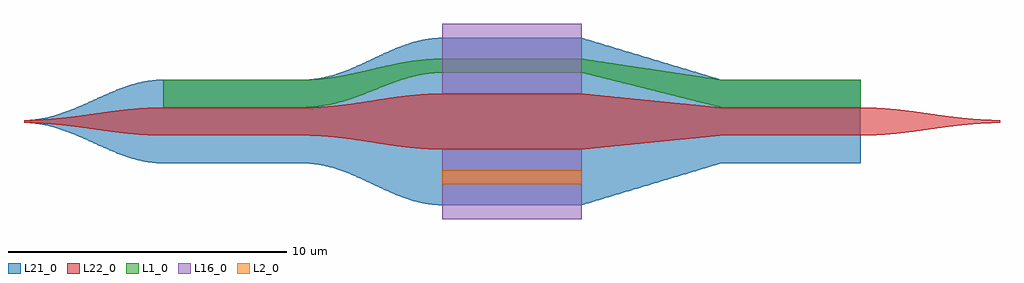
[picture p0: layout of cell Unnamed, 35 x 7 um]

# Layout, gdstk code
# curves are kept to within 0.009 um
import gdstk
lib = gdstk.Library(unit=1e-6, precision=1e-09)
def R(c, l, rs):  # rectangles x0, y0, x1, y1
    for r in rs: c.add(gdstk.rectangle(r[:2], r[2:], *l))
def P(c, l, *ps):  # polygons
    for p in ps: c.add(gdstk.Polygon(p, *l))
L1_0 = (1, 0)
L2_0 = (2, 0)
L16_0 = (16, 0)
L21_0 = (21, 0)
L22_0 = (22, 0)

unnamed = lib.new_cell('Unnamed')
R(unnamed, L1_0, [(5,0.5,10,1.5), (25,0.5,30,1.5), (15,1.75,20,2.25)])
P(unnamed, L1_0, [(10,1.5),(10.602,1.528),(11.271,1.619),(11.821,1.728),(13.127,2.026),(13.768,2.147),(14.357,2.221),(15,2.25),(15,1.75),(14.709,1.739),(14.418,1.706),(14.127,1.653),(13.836,1.581),(13.253,1.391),(11.747,0.816),(11.27,0.672),(10.725,0.557),(10.336,0.512),(10,0.5)],
  [(10,1.5),(10.602,1.528),(11.271,1.619),(11.821,1.728),(13.127,2.026),(13.768,2.147),(14.357,2.221),(15,2.25),(15,1.75),(14.709,1.739),(14.418,1.706),(14.127,1.653),(13.836,1.581),(13.253,1.391),(11.747,0.816),(11.27,0.672),(10.725,0.557),(10.336,0.512),(10,0.5)],
  [(20,2.25),(25,1.5),(25,0.5),(20,1.75)],
  [(20,2.25),(25,1.5),(25,0.5),(20,1.75)])
R(unnamed, L2_0, [(15,-2.25,20,-1.75)])
R(unnamed, L16_0, [(15,-3.5,20,-1), (15,1,20,3.5)])
R(unnamed, L21_0, [(15,-3,20,3), (5,-1.5,10,1.5), (25,-1.5,30,1.5)])
P(unnamed, L21_0, [(0,0.05),(0.255,0.059),(0.51,0.087),(0.765,0.132),(1.071,0.208),(1.378,0.305),(1.786,0.46),(3.112,1.047),(3.724,1.279),(4.082,1.383),(4.388,1.447),(4.694,1.487),(5,1.5),(5,-1.5),(4.694,-1.487),(4.388,-1.447),(4.082,-1.383),(3.827,-1.312),(3.214,-1.09),(2.092,-0.591),(1.48,-0.341),(1.071,-0.208),(0.765,-0.132),(0.357,-0.068),(0,-0.05)],
  [(10,1.5),(10.306,1.514),(10.561,1.546),(10.918,1.621),(11.122,1.679),(11.735,1.903),(13.163,2.554),(13.724,2.772),(14.082,2.879),(14.337,2.936),(14.694,2.986),(15,3),(15,-3),(14.694,-2.986),(14.439,-2.954),(14.082,-2.879),(13.878,-2.821),(13.265,-2.597),(11.837,-1.946),(11.276,-1.728),(10.918,-1.621),(10.663,-1.564),(10.306,-1.514),(10,-1.5)],
  [(10,1.5),(10.306,1.514),(10.561,1.546),(10.918,1.621),(11.122,1.679),(11.735,1.903),(13.163,2.554),(13.724,2.772),(14.082,2.879),(14.337,2.936),(14.694,2.986),(15,3),(15,-3),(14.694,-2.986),(14.439,-2.954),(14.082,-2.879),(13.878,-2.821),(13.265,-2.597),(11.837,-1.946),(11.276,-1.728),(10.918,-1.621),(10.663,-1.564),(10.306,-1.514),(10,-1.5)],
  [(20,3),(25,1.5),(25,-1.5),(20,-3)],
  [(20,3),(25,1.5),(25,-1.5),(20,-3)])
R(unnamed, L22_0, [(15,-1,20,1), (5,-0.5,10,0.5), (25,-0.5,30,0.5)])
P(unnamed, L22_0, [(0,0.05),(0.612,0.066),(1.173,0.108),(3.724,0.432),(4.388,0.484),(5,0.5),(5,-0.5),(4.388,-0.484),(3.827,-0.442),(1.276,-0.118),(0.612,-0.066),(0,-0.05)],
  [(10,0.5),(10.561,0.515),(11.224,0.57),(13.776,0.93),(14.439,0.985),(15,1),(15,-1),(14.439,-0.985),(13.776,-0.93),(11.224,-0.57),(10.561,-0.515),(10,-0.5)],
  [(10,0.5),(10.561,0.515),(11.224,0.57),(13.776,0.93),(14.439,0.985),(15,1),(15,-1),(14.439,-0.985),(13.776,-0.93),(11.224,-0.57),(10.561,-0.515),(10,-0.5)],
  [(20,1),(25,0.5),(25,-0.5),(20,-1)],
  [(20,1),(25,0.5),(25,-0.5),(20,-1)],
  [(30,0.5),(30.612,0.484),(31.173,0.442),(33.724,0.118),(34.388,0.066),(35,0.05),(35,-0.05),(34.388,-0.066),(33.827,-0.108),(31.276,-0.432),(30.612,-0.484),(30,-0.5)])

lib.write_gds('Unnamed.gds')
